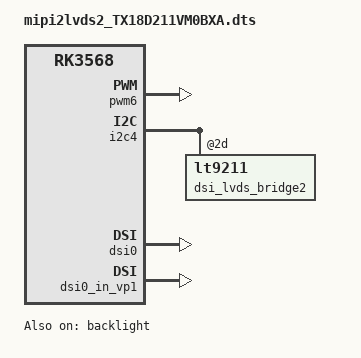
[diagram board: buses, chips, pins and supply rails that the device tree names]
/dts-v1/;
/plugin/;
/ {
	compatible = "rockchip,rk3568";

	fragment@0 {
		target = <&pwm6>;
		__overlay__ {
			status = "okay";
		};
	};
	fragment@1 {
		target = <&backlight>;
		__overlay__ {
			status = "okay";
			panel-type = "LVDS";
			pwms = <&pwm6 0 1000000 0>;
			minimal-brightness-level = <26>;
		};
	};
	fragment@2 {
		target = <&i2c4>;
		__overlay__ {
			status = "okay";
			dsi_lvds_bridge2: lt9211@2d {
				status = "okay";
				dsi,lanes = <4>;
				lvds-format = <2>;//VESA
				lvds-bpp = <18>;
				Tinker3;
				enable-overlay;
				//test-pattern;
			};
		};
	};
	fragment@3 {
		target = <&dsi0>;
		__overlay__ {
			status = "okay";
			dsi0_panel: panel@0 {
				backlight = <&backlight>;

				width-mm = <152>;
				height-mm = <91>;
				bpc=<6>;
				bus-format = <0x1009>;//<MEDIA_BUS_FMT_RGB666_1X18>;
				dsi,flags = <0x03>;//101000000011
				dsi,format = <0>;//MIPI_DSI_FMT_RGB666:
				dsi,lanes = <4>;

				t1=<500>;//VCC on to start lvds signal
				t2=<1000>;//t2-t6: LVDS signal(start) to turn Backlihgt on or Backlight sys Enable
				t3=<1000>;//Backlight sys Disable or Backlihgt(off) to stop lvds signal
				t4=<500>;//LVDS signal to turn VCC off
				t5=<1000>;//VCC off to turn VCC on
				t6=<0>;//Backlight sys Enable to turn Backlight on
				t7=<0>;//Backlight off to Backlight sys Disable
				//t1 -> t2-t6 -> t6 -> t3 -> t7 -> t4 -> t5

				disp_timings0: display-timings {
					native-mode = <&dsi0_timing0>;

					dsi0_timing0: timing0  {
						clock-frequency = <33300000>;
						hactive = <800>;
						vactive = <480>;
						hfront-porch = <102>;
						hback-porch = <102>;
						hsync-len = <52>;
						vfront-porch = <18>;
						vsync-len = <9>;
						vback-porch = <18>;
						hsync-active = <0>;
						vsync-active = <0>;
						de-active = <1>;
						pixelclk-active = <0>;
					};
				};
			};
		};
	};
	fragment@4 {
		target = <&edp>;
		__overlay__ {
			status = "disabled";
		};
	};
	fragment@5 {
		target = <&edp_phy>;
		__overlay__ {
			status = "disabled";
		};
	};
	fragment@6 {
		target = <&panel_edp>;
		__overlay__ {
			status = "disabled";
		};
	};
	fragment@7 {
		target = <&dsi0>;
		__overlay__ {
			status = "okay";
		};
	};
	fragment@8 {
		target = <&dsi0_in_vp1>;
		__overlay__ {
			status = "okay";
		};
	};
	fragment@9 {
		target = <&edp_in_vp1>;
		__overlay__ {
			status = "disabled";
		};
	};
};
